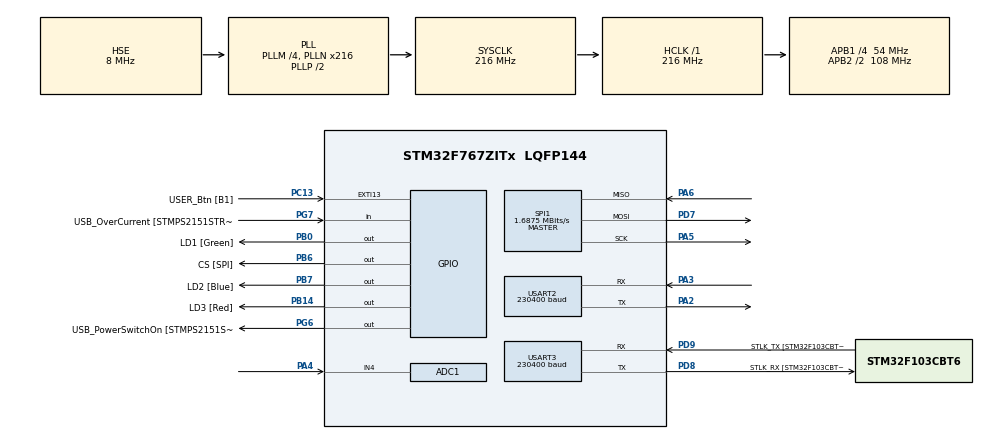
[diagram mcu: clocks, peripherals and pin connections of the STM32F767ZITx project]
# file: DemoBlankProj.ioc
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ADC1.Channel-0\#ChannelRegularConversion=ADC_CHANNEL_4
ADC1.NbrOfConversionFlag=1
ADC1.Rank-0\#ChannelRegularConversion=1
ADC1.SamplingTime-0\#ChannelRegularConversion=ADC_SAMPLETIME_3CYCLES
ADC1.master=1
FREERTOS.Queues01=msgQueue,16,uint16_t,0,Dynamic,NULL,NULL
FREERTOS.Tasks01=defaultTask,0,128,StartDefaultTask,Default,NULL,Dynamic,NULL,NULL;debugMsgName,-2,1024,debugMsg,As weak,NULL,Dynamic,NULL,NULL
FREERTOS.configUSE_TIMERS=1
Mcu.Family=STM32F7
Mcu.Name=STM32F767ZITx
Mcu.Package=LQFP144
NVIC.PriorityGroup=NVIC_PRIORITYGROUP_4
PA13.GPIO_Label=TMS
PA13.Mode=Serial_Wire
PA13.Signal=SYS_JTMS-SWDIO
PA14.GPIO_Label=TCK
PA14.Mode=Serial_Wire
PA14.Signal=SYS_JTCK-SWCLK
PA2.Mode=Asynchronous
PA2.Signal=USART2_TX
PA3.Mode=Asynchronous
PA3.Signal=USART2_RX
PA4.Signal=ADCx_IN4
PA5.Mode=Full_Duplex_Master
PA5.Signal=SPI1_SCK
PA6.Mode=Full_Duplex_Master
PA6.Signal=SPI1_MISO
PA7.GPIO_Label=RMII_CRS_DV [LAN8742A-CZ-TR_CRS_DV]
PA7.Signal=ETH_CRS_DV
PB0.GPIO_Label=LD1 [Green]
PB0.Signal=GPIO_Output
PB13.GPIO_Label=RMII_TXD1 [LAN8742A-CZ-TR_TXD1]
PB13.Signal=ETH_TXD1
PB14.GPIO_Label=LD3 [Red]
PB14.Signal=GPIO_Output
PB6.GPIO_Label=CS [SPI]
PB6.Signal=GPIO_Output
PB7.GPIO_Label=LD2 [Blue]
PB7.Signal=GPIO_Output
PC1.GPIO_Label=RMII_MDC [LAN8742A-CZ-TR_MDC]
PC1.Signal=ETH_MDC
PC13.GPIO_Label=USER_Btn [B1]
PC13.Signal=GPXTI13
PC14/OSC32_IN.Mode=LSE-External-Oscillator
PC14/OSC32_IN.Signal=RCC_OSC32_IN
PC15/OSC32_OUT.Mode=LSE-External-Oscillator
PC15/OSC32_OUT.Signal=RCC_OSC32_OUT
PC4.GPIO_Label=RMII_RXD0 [LAN8742A-CZ-TR_RXD0]
PC4.Signal=ETH_RXD0
PC5.GPIO_Label=RMII_RXD1 [LAN8742A-CZ-TR_RXD1]
PC5.Signal=ETH_RXD1
PD7.Mode=Full_Duplex_Master
PD7.Signal=SPI1_MOSI
PD8.GPIO_Label=STLK_RX [STM32F103CBT6_PA3]
PD8.Mode=Asynchronous
PD8.Signal=USART3_TX
PD9.GPIO_Label=STLK_TX [STM32F103CBT6_PA2]
PD9.Mode=Asynchronous
PD9.Signal=USART3_RX
PG11.GPIO_Label=RMII_TX_EN [LAN8742A-CZ-TR_TXEN]
PG11.Signal=ETH_TX_EN
PG13.GPIO_Label=RMII_TXD0 [LAN8742A-CZ-TR_TXD0]
PG13.Signal=ETH_TXD0
PG6.GPIO_Label=USB_PowerSwitchOn [STMPS2151STR_EN]
PG6.Signal=GPIO_Output
PG7.GPIO_Label=USB_OverCurrent [STMPS2151STR_FAULT]
PG7.Signal=GPIO_Input
PH0/OSC_IN.GPIO_Label=MCO [STM32F103CBT6_PA8]
PH0/OSC_IN.Mode=HSE-External-Clock-Source
PH0/OSC_IN.Signal=RCC_OSC_IN
PH1/OSC_OUT.Mode=HSE-External-Clock-Source
PH1/OSC_OUT.Signal=RCC_OSC_OUT
ProjectManager.HeapSize=0x200
ProjectManager.StackSize=0x400
ProjectManager.TargetToolchain=Makefile
RCC.48MHZClocksFreq_Value=24000000
RCC.AHBFreq_Value=216000000
RCC.APB1CLKDivider=RCC_HCLK_DIV4
RCC.APB1Freq_Value=54000000
RCC.APB1TimFreq_Value=108000000
RCC.APB2CLKDivider=RCC_HCLK_DIV2
RCC.APB2Freq_Value=108000000
RCC.APB2TimFreq_Value=216000000
RCC.CortexFreq_Value=216000000
RCC.HCLKFreq_Value=216000000
RCC.HSE_VALUE=8000000
RCC.HSI_VALUE=16000000
RCC.PLLM=4
RCC.PLLMUL=RCC_PLL_MUL9
RCC.PLLN=216
RCC.PLLQ=4
RCC.PLLSourceVirtual=RCC_PLLSOURCE_HSE
RCC.PRESCALERUSB=RCC_USBCLKSOURCE_PLL_DIV1_5
RCC.SYSCLKFreq_VALUE=216000000
RCC.SYSCLKSource=RCC_SYSCLKSOURCE_PLLCLK
RCC.SYSCLKSourceVirtual=RCC_SYSCLKSOURCE_PLLCLK
RCC.USBFreq_Value=108000000
RCC.VCOOutputFreq_Value=432000000
SH.ADCx_IN4.0=ADC1_IN4,IN4
SPI1.BaudRatePrescaler=SPI_BAUDRATEPRESCALER_64
SPI1.CalculateBaudRate=1.6875 MBits/s
SPI1.DataSize=SPI_DATASIZE_8BIT
SPI1.Direction=SPI_DIRECTION_2LINES
SPI1.Mode=SPI_MODE_MASTER
SPI1.NSSPMode=SPI_NSS_PULSE_DISABLE
SPI1.VirtualType=VM_MASTER
USART2.BaudRate=230400
USART2.VirtualMode-Asynchronous=VM_ASYNC
USART3.BaudRate=230400
USART3.VirtualMode-Asynchronous=VM_ASYNC
VP_FREERTOS_VS_CMSIS_V1.Mode=CMSIS_V1
board=NUCLEO-F767ZI

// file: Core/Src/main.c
/* USER CODE BEGIN Header */
/**
  ******************************************************************************
  * @file           : main.c
  * @brief          : Main program body
  ******************************************************************************
  * @attention
  *
  * Copyright (c) 2024 STMicroelectronics.
  * All rights reserved.
  *
  * This software is licensed under terms that can be found in the LICENSE file
  * in the root directory of this software component.
  * If no LICENSE file comes with this software, it is provided AS-IS.
  *
  ******************************************************************************
  */
/* USER CODE END Header */
#include "main.h"
#include "string.h"
#include "cmsis_os.h"
#include <stdint.h>
#include <stdio.h>

/* USER CODE BEGIN PD */
//debugMsg, not finished, use DEBUG_PRINT instead
#define DEBUG_PRINT(...) \
    do { \
        if (!printQueue) { \
            handleError(); \
        } \
        char buf[PRINT_QUEUE_STRING_SIZE] = {0}; \
        snprintf(buf, PRINT_QUEUE_STRING_SIZE, __VA_ARGS__); \
        xQueueSend(printQueue, buf, PRINT_QUEUE_SEND_TIMEOUT_TICKS); \
    } while(0)
/* USER CODE END PD */

ADC_HandleTypeDef hadc1;

SPI_HandleTypeDef hspi1;

UART_HandleTypeDef huart2;
UART_HandleTypeDef huart3;

osThreadId defaultTaskHandle;
osThreadId debugMsgNameHandle;
osMessageQId msgQueueHandle;

void SystemClock_Config(void);
static void MX_GPIO_Init(void);
static void MX_ADC1_Init(void);
static void MX_USART3_UART_Init(void);
static void MX_SPI1_Init(void);
static void MX_USART2_UART_Init(void);
void StartDefaultTask(void const * argument);
void debugMsg(void const * argument);

/* USER CODE BEGIN PFP */

#define COMMAND_SIZE 1
#define CMD_NO_OPERATION 0x00
#define CMD_READ_POS 0x10
#define CMD_SET_ZERO_POINT 0x70
#define CMD_TIMEOUT pdMS_TO_TICKS(100)

//redirect printf to uart
#ifdef __GNUC__
#define PUTCHAR_PROTOTYPE int __io_putchar(int ch)
#else
#define PUTCHAR_PROTOTYPE int fputc(int ch, FILE *f)
#endif

PUTCHAR_PROTOTYPE
{
  HAL_UART_Transmit(&huart3, (uint8_t *)&ch, 1, HAL_MAX_DELAY);
  return ch;
}
/* USER CODE END PFP */

int main(void)
{

  /* MCU Configuration--------------------------------------------------------*/

  /* Reset of all peripherals, Initializes the Flash interface and the Systick. */
  HAL_Init();

  /* Configure the system clock */
  SystemClock_Config();

  /* USER CODE BEGIN 2 */
  /* Initialize all configured peripherals */
  MX_GPIO_Init();
  MX_ADC1_Init();
  MX_USART3_UART_Init();
  MX_SPI1_Init();
  MX_USART2_UART_Init();
  /* USER CODE END 2 */

  /* Create the queue(s) */
  /* definition and creation of msgQueue */
  osMessageQDef(msgQueue, 16, uint16_t);
  msgQueueHandle = osMessageCreate(osMessageQ(msgQueue), NULL);

  /* Create the thread(s) */
  /* definition and creation of defaultTask */
  osThreadDef(defaultTask, StartDefaultTask, osPriorityNormal, 0, 128);
  defaultTaskHandle = osThreadCreate(osThread(defaultTask), NULL);

  /* definition and creation of debugMsgName */
  osThreadDef(debugMsgName, debugMsg, osPriorityLow, 0, 1024);
  debugMsgNameHandle = osThreadCreate(osThread(debugMsgName), NULL);

  /* Start scheduler */
  osKernelStart();

  /* USER CODE END 3 */
}

void SystemClock_Config(void)
{
  RCC_OscInitTypeDef RCC_OscInitStruct = {0};
  RCC_ClkInitTypeDef RCC_ClkInitStruct = {0};

  /** Configure LSE Drive Capability
  */
  HAL_PWR_EnableBkUpAccess();

  /** Configure the main internal regulator output voltage
  */
  __HAL_RCC_PWR_CLK_ENABLE();
  __HAL_PWR_VOLTAGESCALING_CONFIG(PWR_REGULATOR_VOLTAGE_SCALE1);

  /** Initializes the RCC Oscillators according to the specified parameters
  * in the RCC_OscInitTypeDef structure.
  */
  RCC_OscInitStruct.OscillatorType = RCC_OSCILLATORTYPE_HSE;
  RCC_OscInitStruct.HSEState = RCC_HSE_BYPASS;
  RCC_OscInitStruct.PLL.PLLState = RCC_PLL_ON;
  RCC_OscInitStruct.PLL.PLLSource = RCC_PLLSOURCE_HSE;
  RCC_OscInitStruct.PLL.PLLM = 4;
  RCC_OscInitStruct.PLL.PLLN = 216;
  RCC_OscInitStruct.PLL.PLLP = RCC_PLLP_DIV2;
  RCC_OscInitStruct.PLL.PLLQ = 4;
  RCC_OscInitStruct.PLL.PLLR = 2;
  if (HAL_RCC_OscConfig(&RCC_OscInitStruct) != HAL_OK)
  {
    Error_Handler();
  }

  /** Activate the Over-Drive mode
  */
  if (HAL_PWREx_EnableOverDrive() != HAL_OK)
  {
    Error_Handler();
  }

  /** Initializes the CPU, AHB and APB buses clocks
  */
  RCC_ClkInitStruct.ClockType = RCC_CLOCKTYPE_HCLK|RCC_CLOCKTYPE_SYSCLK
                              |RCC_CLOCKTYPE_PCLK1|RCC_CLOCKTYPE_PCLK2;
  RCC_ClkInitStruct.SYSCLKSource = RCC_SYSCLKSOURCE_PLLCLK;
  RCC_ClkInitStruct.AHBCLKDivider = RCC_SYSCLK_DIV1;
  RCC_ClkInitStruct.APB1CLKDivider = RCC_HCLK_DIV4;
  RCC_ClkInitStruct.APB2CLKDivider = RCC_HCLK_DIV2;

  if (HAL_RCC_ClockConfig(&RCC_ClkInitStruct, FLASH_LATENCY_7) != HAL_OK)
  {
    Error_Handler();
  }
}

static void MX_ADC1_Init(void)
{

  ADC_ChannelConfTypeDef sConfig = {0};

  /** Configure the global features of the ADC (Clock, Resolution, Data Alignment and number of conversion)
  */
  hadc1.Instance = ADC1;
  hadc1.Init.ClockPrescaler = ADC_CLOCK_SYNC_PCLK_DIV4;
  hadc1.Init.Resolution = ADC_RESOLUTION_12B;
  hadc1.Init.ScanConvMode = ADC_SCAN_DISABLE;
  hadc1.Init.ContinuousConvMode = DISABLE;
  hadc1.Init.DiscontinuousConvMode = DISABLE;
  hadc1.Init.ExternalTrigConvEdge = ADC_EXTERNALTRIGCONVEDGE_NONE;
  hadc1.Init.ExternalTrigConv = ADC_SOFTWARE_START;
  hadc1.Init.DataAlign = ADC_DATAALIGN_RIGHT;
  hadc1.Init.NbrOfConversion = 1;
  hadc1.Init.DMAContinuousRequests = DISABLE;
  hadc1.Init.EOCSelection = ADC_EOC_SINGLE_CONV;
  if (HAL_ADC_Init(&hadc1) != HAL_OK)
  {
    Error_Handler();
  }

  /** Configure for the selected ADC regular channel its corresponding rank in the sequencer and its sample time.
  */
  sConfig.Channel = ADC_CHANNEL_4;
  sConfig.Rank = ADC_REGULAR_RANK_1;
  sConfig.SamplingTime = ADC_SAMPLETIME_3CYCLES;
  if (HAL_ADC_ConfigChannel(&hadc1, &sConfig) != HAL_OK)
  {
    Error_Handler();
  }

}

static void MX_SPI1_Init(void)
{

  /* SPI1 parameter configuration*/
  hspi1.Instance = SPI1;
  hspi1.Init.Mode = SPI_MODE_MASTER;
  hspi1.Init.Direction = SPI_DIRECTION_2LINES;
  hspi1.Init.DataSize = SPI_DATASIZE_8BIT;
  hspi1.Init.CLKPolarity = SPI_POLARITY_LOW;
  hspi1.Init.CLKPhase = SPI_PHASE_1EDGE;
  hspi1.Init.NSS = SPI_NSS_SOFT;
  hspi1.Init.BaudRatePrescaler = SPI_BAUDRATEPRESCALER_64;
  hspi1.Init.FirstBit = SPI_FIRSTBIT_MSB;
  hspi1.Init.TIMode = SPI_TIMODE_DISABLE;
  hspi1.Init.CRCCalculation = SPI_CRCCALCULATION_DISABLE;
  hspi1.Init.CRCPolynomial = 7;
  hspi1.Init.CRCLength = SPI_CRC_LENGTH_DATASIZE;
  hspi1.Init.NSSPMode = SPI_NSS_PULSE_DISABLE;
  if (HAL_SPI_Init(&hspi1) != HAL_OK)
  {
    Error_Handler();
  }

}

static void MX_USART2_UART_Init(void)
{

  huart2.Instance = USART2;
  huart2.Init.BaudRate = 230400;
  huart2.Init.WordLength = UART_WORDLENGTH_8B;
  huart2.Init.StopBits = UART_STOPBITS_1;
  huart2.Init.Parity = UART_PARITY_NONE;
  huart2.Init.Mode = UART_MODE_TX_RX;
  huart2.Init.HwFlowCtl = UART_HWCONTROL_NONE;
  huart2.Init.OverSampling = UART_OVERSAMPLING_16;
  huart2.Init.OneBitSampling = UART_ONE_BIT_SAMPLE_DISABLE;
  huart2.AdvancedInit.AdvFeatureInit = UART_ADVFEATURE_NO_INIT;
  if (HAL_UART_Init(&huart2) != HAL_OK)
  {
    Error_Handler();
  }

}

static void MX_USART3_UART_Init(void)
{

  huart3.Instance = USART3;
  huart3.Init.BaudRate = 230400;
  huart3.Init.WordLength = UART_WORDLENGTH_8B;
  huart3.Init.StopBits = UART_STOPBITS_1;
  huart3.Init.Parity = UART_PARITY_NONE;
  huart3.Init.Mode = UART_MODE_TX_RX;
  huart3.Init.HwFlowCtl = UART_HWCONTROL_NONE;
  huart3.Init.OverSampling = UART_OVERSAMPLING_16;
  huart3.Init.OneBitSampling = UART_ONE_BIT_SAMPLE_DISABLE;
  huart3.AdvancedInit.AdvFeatureInit = UART_ADVFEATURE_NO_INIT;
  if (HAL_UART_Init(&huart3) != HAL_OK)
  {
    Error_Handler();
  }

}

static void MX_GPIO_Init(void)
{
  GPIO_InitTypeDef GPIO_InitStruct = {0};

  /* GPIO Ports Clock Enable */
  __HAL_RCC_GPIOC_CLK_ENABLE();
  __HAL_RCC_GPIOH_CLK_ENABLE();
  __HAL_RCC_GPIOA_CLK_ENABLE();
  __HAL_RCC_GPIOB_CLK_ENABLE();
  __HAL_RCC_GPIOD_CLK_ENABLE();
  __HAL_RCC_GPIOG_CLK_ENABLE();

  /*Configure GPIO pin Output Level */
  HAL_GPIO_WritePin(GPIOB, LD1_Pin|LD3_Pin|CS_Pin|LD2_Pin, GPIO_PIN_RESET);

  /*Configure GPIO pin Output Level */
  HAL_GPIO_WritePin(USB_PowerSwitchOn_GPIO_Port, USB_PowerSwitchOn_Pin, GPIO_PIN_RESET);

  /*Configure GPIO pin : USER_Btn_Pin */
  GPIO_InitStruct.Pin = USER_Btn_Pin;
  GPIO_InitStruct.Mode = GPIO_MODE_IT_RISING;
  GPIO_InitStruct.Pull = GPIO_NOPULL;
  HAL_GPIO_Init(USER_Btn_GPIO_Port, &GPIO_InitStruct);

  /*Configure GPIO pins : RMII_MDC_Pin RMII_RXD0_Pin RMII_RXD1_Pin */
  GPIO_InitStruct.Pin = RMII_MDC_Pin|RMII_RXD0_Pin|RMII_RXD1_Pin;
  GPIO_InitStruct.Mode = GPIO_MODE_AF_PP;
  GPIO_InitStruct.Pull = GPIO_NOPULL;
  GPIO_InitStruct.Speed = GPIO_SPEED_FREQ_VERY_HIGH;
  GPIO_InitStruct.Alternate = GPIO_AF11_ETH;
  HAL_GPIO_Init(GPIOC, &GPIO_InitStruct);

  /*Configure GPIO pins : LD1_Pin LD3_Pin CS_Pin LD2_Pin */
  GPIO_InitStruct.Pin = LD1_Pin|LD3_Pin|CS_Pin|LD2_Pin;
  GPIO_InitStruct.Mode = GPIO_MODE_OUTPUT_PP;
  GPIO_InitStruct.Pull = GPIO_NOPULL;
  GPIO_InitStruct.Speed = GPIO_SPEED_FREQ_LOW;
  HAL_GPIO_Init(GPIOB, &GPIO_InitStruct);

  /*Configure GPIO pin : RMII_TXD1_Pin */
  GPIO_InitStruct.Pin = RMII_TXD1_Pin;
  GPIO_InitStruct.Mode = GPIO_MODE_AF_PP;
  GPIO_InitStruct.Pull = GPIO_NOPULL;
  GPIO_InitStruct.Speed = GPIO_SPEED_FREQ_VERY_HIGH;
  GPIO_InitStruct.Alternate = GPIO_AF11_ETH;
  HAL_GPIO_Init(RMII_TXD1_GPIO_Port, &GPIO_InitStruct);

  /*Configure GPIO pin : USB_PowerSwitchOn_Pin */
  GPIO_InitStruct.Pin = USB_PowerSwitchOn_Pin;
  GPIO_InitStruct.Mode = GPIO_MODE_OUTPUT_PP;
  GPIO_InitStruct.Pull = GPIO_NOPULL;
  GPIO_InitStruct.Speed = GPIO_SPEED_FREQ_LOW;
  HAL_GPIO_Init(USB_PowerSwitchOn_GPIO_Port, &GPIO_InitStruct);

  /*Configure GPIO pin : USB_OverCurrent_Pin */
  GPIO_InitStruct.Pin = USB_OverCurrent_Pin;
  GPIO_InitStruct.Mode = GPIO_MODE_INPUT;
  GPIO_InitStruct.Pull = GPIO_NOPULL;
  HAL_GPIO_Init(USB_OverCurrent_GPIO_Port, &GPIO_InitStruct);

  /*Configure GPIO pins : RMII_TX_EN_Pin RMII_TXD0_Pin */
  GPIO_InitStruct.Pin = RMII_TX_EN_Pin|RMII_TXD0_Pin;
  GPIO_InitStruct.Mode = GPIO_MODE_AF_PP;
  GPIO_InitStruct.Pull = GPIO_NOPULL;
  GPIO_InitStruct.Speed = GPIO_SPEED_FREQ_VERY_HIGH;
  GPIO_InitStruct.Alternate = GPIO_AF11_ETH;
  HAL_GPIO_Init(GPIOG, &GPIO_InitStruct);

}

void StartDefaultTask(void const * argument)
{
  /* USER CODE BEGIN 5 */
  const size_t BUFF_SIZE = COMMAND_SIZE;
  uint8_t tx_data[COMMAND_SIZE];
  uint8_t rx_data[COMMAND_SIZE];
  uint16_t data_buffer;
  uint16_t encoder_angle;

  uint8_t data[100];
  memset(data, '\0', 100);
  char text[100];

  /* Wait for the rotary encoder to finish its initialization (100 ms) */
  vTaskDelay(pdMS_TO_TICKS(100));

  /* Clear the transmit and receive buffers */
  memset(tx_data, 0, COMMAND_SIZE);
  memset(rx_data, 0, COMMAND_SIZE);

  /* Enter Infinite loop after connecting with the encoder */
  for(;;) {
    // Initial master command to read position
    tx_data[0] = 0x10;

    HAL_GPIO_WritePin(GPIOB, GPIO_PIN_6, GPIO_PIN_RESET); // Set CS Low
    HAL_SPI_TransmitReceive(&hspi1, tx_data, rx_data, COMMAND_SIZE, CMD_TIMEOUT);
    HAL_GPIO_WritePin(GPIOB, GPIO_PIN_6, GPIO_PIN_SET); // Set CS High

    /* If data buffer is non-zero, this implies that data was successfully captured from the previous
       read command. This means the current read buffer has LSB data which needs to be furthur processed. Note,
       this is equivalent to sending the second NOP command as per the datasheet. */
    if (data_buffer != 0) {
      // Retrieve LSB Position from current rx_data buffer (data from previous read command)
      data_buffer |= rx_data[0];

      // Map sensor reading into an angle for processing
      encoder_angle = (data_buffer/4095.0)*(360.0);

      // Output sensor reading
      sprintf(data, "%d\r\n", encoder_angle);
      HAL_UART_Transmit(&huart3, data, strlen(data), HAL_MAX_DELAY);
    }

    while(1) {
      static uint8_t attempts = 0;

      // Continue sending NOP command until data is available
      tx_data[0] = 0x00;

      HAL_GPIO_WritePin(GPIOB, GPIO_PIN_6, GPIO_PIN_RESET); // CS Low
      HAL_SPI_TransmitReceive(&hspi1, tx_data, rx_data, COMMAND_SIZE, CMD_TIMEOUT);
      HAL_GPIO_WritePin(GPIOB, GPIO_PIN_6, GPIO_PIN_SET); // CS High

      // Check if rx_data buffer is equal to the original command that was issued (read == 0x10)
      if (rx_data[0] == 0x10) {
        HAL_UART_Transmit(&huart3, "Data!\r\n", 7, HAL_MAX_DELAY);
        break;
      }

      /* Send NOP commands three times to ensure the next time read command is issued,
         the encoder returns the same command back properly. */
      else if (rx_data[0] == 0xA5) {
        attempts++;
        if (attempts == 3) {
          break;
        }
      }

      else {
        // Print current rx_data buffer value
        sprintf(data, "%u\r\n", rx_data[0]);
        HAL_UART_Transmit(&huart3, data, strlen(data), HAL_MAX_DELAY);
      }

      vTaskDelay(pdMS_TO_TICKS(1));
    }

    if (rx_data[0] == 0x10)
    {
      // Clear data buffer prior to read
      data_buffer = 0;

      // First NOP command after issuing a successful read command
      tx_data[0] = 0x00;
      HAL_GPIO_WritePin(GPIOB, GPIO_PIN_6, GPIO_PIN_RESET); // Set CS Low
      if (HAL_SPI_TransmitReceive(&hspi1, tx_data, rx_data, COMMAND_SIZE, CMD_TIMEOUT) != HAL_OK) {
        strcpy(text, "Unable to send NOP Command to the sensor ");
        sprintf(data, "%s\r\n", text);
        HAL_UART_Transmit(&huart3, data, strlen(data), HAL_MAX_DELAY);
      }
      HAL_GPIO_WritePin(GPIOB, GPIO_PIN_6, GPIO_PIN_SET); // Set CS High

      vTaskDelay(pdMS_TO_TICKS(1));

      // Retrieve MSB position
      data_buffer = (rx_data[0] & 0xF) << 8;
    }

  /* USER CODE END 5 */
}
}

__weak void debugMsg(void const * argument)
{
  for(;;)
  {
    osDelay(1);
  }
}

void Error_Handler(void)
{
  __disable_irq();
  while (1)
  {
  }
}

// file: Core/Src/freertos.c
/* USER CODE BEGIN Header */
/**
  ******************************************************************************
  * File Name          : freertos.c
  * Description        : Code for freertos applications
  ******************************************************************************
  * @attention
  *
  * Copyright (c) 2024 STMicroelectronics.
  * All rights reserved.
  *
  * This software is licensed under terms that can be found in the LICENSE file
  * in the root directory of this software component.
  * If no LICENSE file comes with this software, it is provided AS-IS.
  *
  ******************************************************************************
  */
/* USER CODE END Header */

#include "FreeRTOS.h"
#include "task.h"
#include "main.h"

/* GetIdleTaskMemory prototype (linked to static allocation support) */
void vApplicationGetIdleTaskMemory( StaticTask_t **ppxIdleTaskTCBBuffer, StackType_t **ppxIdleTaskStackBuffer, uint32_t *pulIdleTaskStackSize );

/* GetTimerTaskMemory prototype (linked to static allocation support) */
void vApplicationGetTimerTaskMemory( StaticTask_t **ppxTimerTaskTCBBuffer, StackType_t **ppxTimerTaskStackBuffer, uint32_t *pulTimerTaskStackSize );

/* USER CODE BEGIN GET_IDLE_TASK_MEMORY */
static StaticTask_t xIdleTaskTCBBuffer;
static StackType_t xIdleStack[configMINIMAL_STACK_SIZE];

void vApplicationGetIdleTaskMemory( StaticTask_t **ppxIdleTaskTCBBuffer, StackType_t **ppxIdleTaskStackBuffer, uint32_t *pulIdleTaskStackSize )
{
  *ppxIdleTaskTCBBuffer = &xIdleTaskTCBBuffer;
  *ppxIdleTaskStackBuffer = &xIdleStack[0];
  *pulIdleTaskStackSize = configMINIMAL_STACK_SIZE;
  /* place for user code */
}
/* USER CODE END GET_IDLE_TASK_MEMORY */

/* USER CODE BEGIN GET_TIMER_TASK_MEMORY */
static StaticTask_t xTimerTaskTCBBuffer;
static StackType_t xTimerStack[configTIMER_TASK_STACK_DEPTH];

void vApplicationGetTimerTaskMemory( StaticTask_t **ppxTimerTaskTCBBuffer, StackType_t **ppxTimerTaskStackBuffer, uint32_t *pulTimerTaskStackSize )
{
  *ppxTimerTaskTCBBuffer = &xTimerTaskTCBBuffer;
  *ppxTimerTaskStackBuffer = &xTimerStack[0];
  *pulTimerTaskStackSize = configTIMER_TASK_STACK_DEPTH;
  /* place for user code */
}
/* USER CODE END GET_TIMER_TASK_MEMORY */
